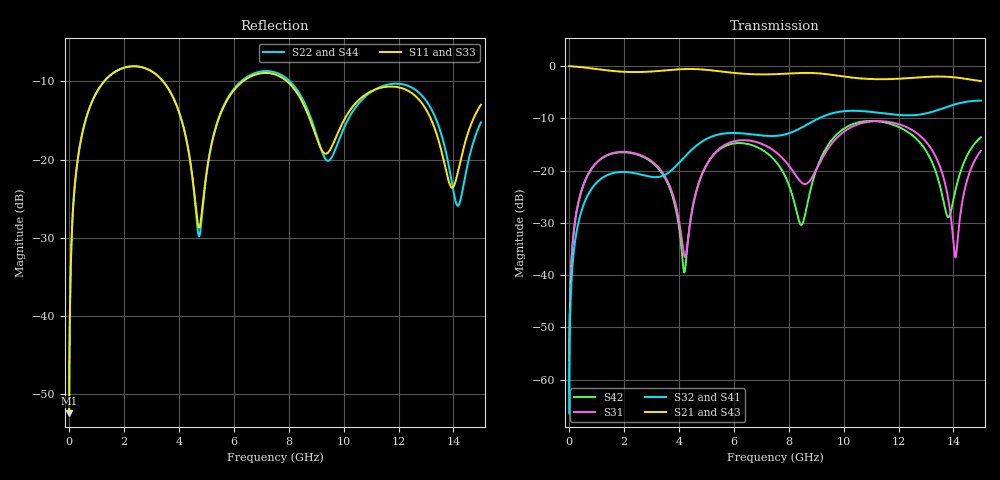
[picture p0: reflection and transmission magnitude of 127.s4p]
! Created with skrf 1.8.0 (http://scikit-rf.org).
# GHz S RI R 50.0
!freq ReS11 ImS11 ReS12 ImS12 ReS13 ImS13
! ReS14 ImS14
! ReS21 ImS21 ReS22 ImS22 ReS23 ImS23
! ReS24 ImS24
! ReS31 ImS31 ReS32 ImS32 ReS33 ImS33
! ReS34 ImS34
! ReS41 ImS41 ReS42 ImS42 ReS43 ImS43
! ReS44 ImS44
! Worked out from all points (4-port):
!   2499 points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, 5 MHz to 15 GHz, reference 50 ohm
!   strongest paths, dB at 5 MHz, 3.476 GHz, 7.19 GHz, 11.1 GHz, 15 GHz:
!     S21: 0.0, -0.8, -1.6, -2.5, -2.9
!     S43: 0.0, -0.8, -1.6, -2.5, -2.9
!     S32: -66.4, -20.9, -13.4, -8.8, -6.6
!     S41: -66.4, -20.9, -13.4, -8.9, -6.6
!     S31: -62.5, -20.9, -15.3, -10.6, -16.2
!     S42: -62.5, -21.3, -16.6, -10.5, -13.6
!   lowest |S11| = -52.5 dB at 5 MHz (marker M1), VSWR 1.00, Z = 50.2 + j0.145 ohm
!   |S11| at or under -10 dB: start of sweep to 1.282 GHz; 3.425 GHz to 6.333 GHz (2.908 GHz wide, 59.6 % of centre); 7.942 GHz to end of sweep
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0.005  0.0019 0.00144  0.9981 -0.00369  9.57e-05 0.000742  -9.3e-05 -0.000467
       0.9981 -0.00369  0.0019 0.00144  -9.3e-05 -0.000467  9.56e-05 0.000742
       9.57e-05 0.000742  -9.3e-05 -0.000467  0.0019 0.00144  0.9981 -0.00369
       -9.3e-05 -0.000467  9.56e-05 0.000742  0.9981 -0.00369  0.0019 0.00144
1.369321  0.2773 0.1766  0.5347 -0.7376  0.1283 0.0559  -0.0897 -0.0042
          0.5347 -0.7376  0.2781 0.1761  -0.0898 -0.00411  0.1258 0.0594
          0.1283 0.0559  -0.0898 -0.00411  0.2772 0.1766  0.5347 -0.7376
          -0.0897 -0.0042  0.1258 0.0594  0.5347 -0.7376  0.2782 0.176
4.545909  0.0403 -0.0512  -0.9195 -0.1798  -0.0107 0.0484  -0.0305 0.1622
          -0.9195 -0.1798  0.0361 -0.0523  -0.0294 0.1625  -0.0106 0.05
          -0.0107 0.0484  -0.0294 0.1625  0.0393 -0.0515  -0.9196 -0.1797
          -0.0305 0.1622  -0.0106 0.05  -0.9196 -0.1797  0.0371 -0.0521
7.10296  0.3575 0.0104  -0.109 0.8253  0.154 -0.0857  0.2116 -0.0345
         -0.109 0.8253  0.3676 0.00503  0.2125 -0.0376  0.1477 -0.0439
         0.154 -0.0857  0.2125 -0.0376  0.3571 0.0138  -0.1087 0.8251
         0.2116 -0.0345  0.1477 -0.0439  -0.1087 0.8251  0.369 0.00166
12.1113  0.2773 -0.072  0.0946 -0.7536  0.2492 -0.1103  -0.3331 0.0529
         0.0946 -0.7536  0.2945 -0.0748  -0.3342 0.0604  0.2468 -0.0596
         0.2492 -0.1103  -0.3342 0.0604  0.2767 -0.0701  0.0939 -0.7531
         -0.3331 0.0529  0.2468 -0.0596  0.0939 -0.7531  0.2988 -0.0765
14.06836  0.0682 0.0221  -0.7256 -0.2837  -0.0144 0.00321  -0.146 0.4054
          -0.7256 -0.2837  0.0499 -0.023  -0.1366 0.4091  0.0432 0.0468
          -0.0144 0.00321  -0.1366 0.4091  0.0678 0.0193  -0.7256 -0.2833
          -0.146 0.4054  0.0432 0.0468  -0.7256 -0.2833  0.0533 -0.0249
15  0.1872 0.1233  -0.6977 0.1696  0.1256 0.0904  0.1579 0.438
    -0.6977 0.1696  0.1366 0.1055  0.1683 0.4364  0.1786 0.1075
    0.1256 0.0904  0.1683 0.4364  0.1803 0.1221  -0.6978 0.1706
    0.1579 0.438  0.1786 0.1075  -0.6978 0.1706  0.144 0.1029
